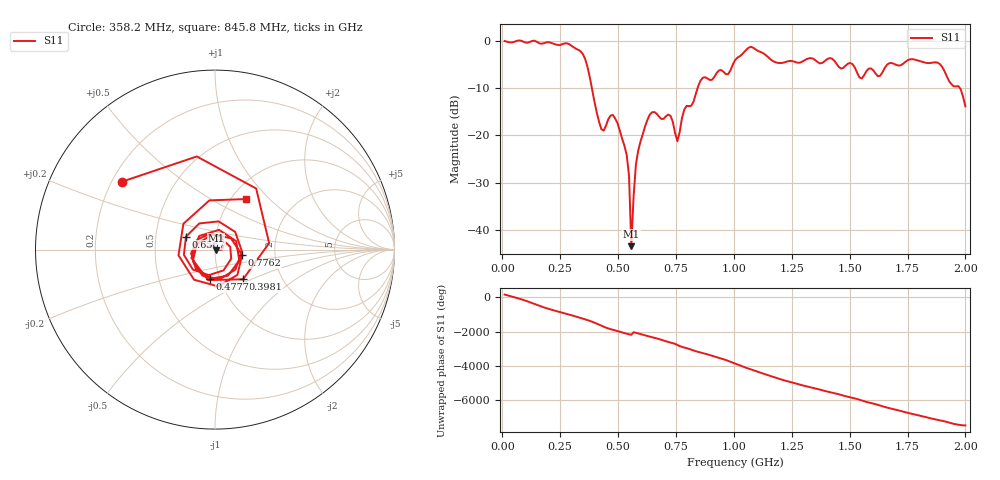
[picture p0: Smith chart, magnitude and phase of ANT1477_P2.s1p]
!Created with skrf (http://scikit-rf.org).
# Hz S RI R 50.0
!freq ReS11 ImS11
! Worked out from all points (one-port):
!   201 points, 10 MHz to 2 GHz, reference 50 ohm
!   lowest |S11| = -43.5 dB at 557.2 MHz (marker M1), VSWR 1.01, Z = 50.6 - j0.343 ohm
!   |S11| at or under -10 dB: 386.8 MHz to 843.3 MHz (456.5 MHz wide, 74.2 % of centre); 1.976 GHz to end of sweep
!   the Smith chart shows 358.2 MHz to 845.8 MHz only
!   S11 on the Smith chart (normalised r, x): 358.2 MHz: 0.24, +0.31; 398.1 MHz: 1.28, -0.45; 477.6 MHz: 0.90, -0.30; 656.8 MHz: 0.72, +0.11; 776.1 MHz: 1.35, -0.08; 845.8 MHz: 1.17, +0.74
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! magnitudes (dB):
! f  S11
! 10 MHz  0.0
! 258.8 MHz  -0.7
! 358.2 MHz  -3.9
! 398.1 MHz  -12.9
! 427.9 MHz  -18.7
! 477.6 MHz  -15.7
! 507.5 MHz  -19.0
! 537.4 MHz  -24.2
! 547.3 MHz  -28.5
! 557.2 MHz  -43.5
! 567.2 MHz  -32.8
! 587.1 MHz  -23.2
! 626.9 MHz  -16.7
! 656.8 MHz  -15.0
! 726.4 MHz  -15.9
! 756.2 MHz  -21.2
! 776.1 MHz  -16.3
! 845.8 MHz  -9.6
! 975.1 MHz  -7.0
! 1.005 GHz  -4.1
! 1.075 GHz  -1.2
! 1.254 GHz  -4.3
! 1.502 GHz  -4.7
! 1.552 GHz  -7.9
! 1.751 GHz  -4.0
! 1.891 GHz  -4.9
! 1.98 GHz  -10.3
! 2 GHz  -13.8
